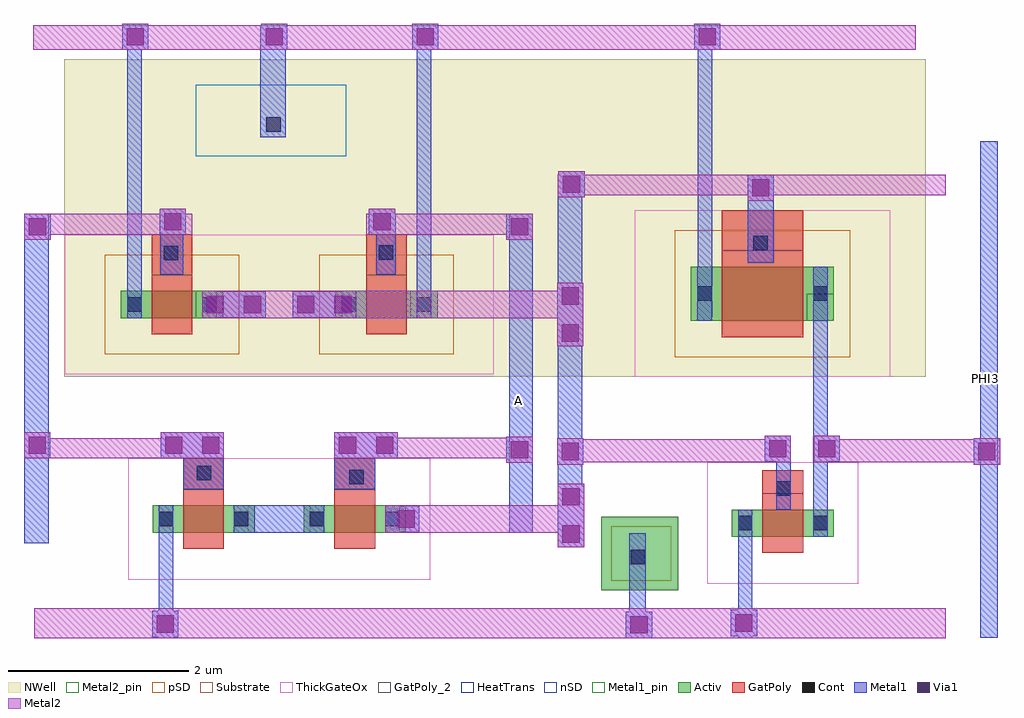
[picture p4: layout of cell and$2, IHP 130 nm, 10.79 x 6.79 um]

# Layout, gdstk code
import gdstk
lib = gdstk.Library(unit=1e-6, precision=1e-09)
def R(c, l, rs):  # rectangles x0, y0, x1, y1
    for r in rs: c.add(gdstk.rectangle(r[:2], r[2:], *l))
def P(c, l, *ps):  # polygons
    for p in ps: c.add(gdstk.Polygon(p, *l))
Activ = (1, 0)
GatPoly = (5, 0)
GatPoly_2 = (5, 2)
Cont = (6, 0)
nSD = (7, 0)
Metal1 = (8, 0)
Metal1_pin = (8, 2)
Metal2 = (10, 0)
Metal2_pin = (10, 2)
pSD = (14, 0)
Via1 = (19, 0)
NWell = (31, 0)
Substrate = (40, 0)
ThickGateOx = (44, 0)
HeatTrans = (51, 0)

pmoshv_1_4_1 = lib.new_cell('pmosHV$1$4$1')
R(pmoshv_1_4_1, Activ, [(0,0,0.3,0.3), (0,0,1.13,0.3), (0.83,0,1.13,0.3)])
R(pmoshv_1_4_1, GatPoly, [(0.34,-0.18,0.79,0.48)])
R(pmoshv_1_4_1, GatPoly_2, [(0.34,-0.18,0.79,0.48)])
R(pmoshv_1_4_1, Cont, [(0.07,0.07,0.23,0.23), (0.9,0.07,1.06,0.23)])
R(pmoshv_1_4_1, Metal1, [(0.07,0,0.23,0.3), (0.9,0,1.06,0.3)])
R(pmoshv_1_4_1, Metal1_pin, [(0.07,0,0.23,0.3), (0.9,0,1.06,0.3)])
R(pmoshv_1_4_1, pSD, [(-0.18,-0.4,1.31,0.7)])
R(pmoshv_1_4_1, NWell, [(-0.62,-0.62,1.75,0.92)])
R(pmoshv_1_4_1, Substrate, [(0.83,0,1.13,0.3)])
R(pmoshv_1_4_1, ThickGateOx, [(-0.62,-0.62,1.75,0.92)])
R(pmoshv_1_4_1, HeatTrans, [(0.34,-0.18,0.79,0.48)])
pmoshv_1_4_1.add(gdstk.Label('pmosHV', (0.565,0.15), layer=63, texttype=0))
pmoshv_1_4_1.add(gdstk.Label('pmos', (0.565,0.15), layer=51, texttype=0))

nmoshv_1_4_1 = lib.new_cell('nmosHV$1$4$1')
R(nmoshv_1_4_1, Activ, [(0,0,0.3,0.3), (0,0,1.13,0.3), (0.83,0,1.13,0.3)])
R(nmoshv_1_4_1, GatPoly, [(0.34,-0.18,0.79,0.48)])
R(nmoshv_1_4_1, GatPoly_2, [(0.34,-0.18,0.79,0.48)])
R(nmoshv_1_4_1, Cont, [(0.07,0.07,0.23,0.23), (0.9,0.07,1.06,0.23)])
R(nmoshv_1_4_1, Metal1, [(0.07,0,0.23,0.3), (0.9,0,1.06,0.3)])
R(nmoshv_1_4_1, Metal1_pin, [(0.07,0,0.23,0.3), (0.9,0,1.06,0.3)])
R(nmoshv_1_4_1, ThickGateOx, [(-0.27,-0.52,1.4,0.82)])
R(nmoshv_1_4_1, HeatTrans, [(0.34,-0.18,0.79,0.48)])
nmoshv_1_4_1.add(gdstk.Label('nmosHV', (0.565,0.15), layer=63, texttype=0))
nmoshv_1_4_1.add(gdstk.Label('nmosHV', (0.565,0.15), layer=51, texttype=0))

via_stack_3_4 = lib.new_cell('via_stack$3$4')
R(via_stack_3_4, Metal1, [(-0.145,-0.145,0.145,0.145)])
R(via_stack_3_4, Metal2, [(-0.145,-0.145,0.145,0.145)])
R(via_stack_3_4, Via1, [(-0.095,-0.095,0.095,0.095)])

via_stack_8_3 = lib.new_cell('via_stack$8$3')
R(via_stack_8_3, Metal1, [(-0.145,-0.35,0.145,0.35)])
R(via_stack_8_3, Metal2, [(-0.145,-0.35,0.145,0.35)])
R(via_stack_8_3, Via1, [(-0.095,-0.3,0.095,-0.11), (-0.095,0.11,0.095,0.3)])

via_stack_1_4 = lib.new_cell('via_stack$1$4')
R(via_stack_1_4, Metal1, [(-0.35,-0.145,0.35,0.145)])
R(via_stack_1_4, Metal2, [(-0.35,-0.145,0.35,0.145)])
R(via_stack_1_4, Via1, [(-0.3,-0.095,-0.11,0.095), (0.11,-0.095,0.3,0.095)])

pmoshv_7_2 = lib.new_cell('pmosHV$7$2')
R(pmoshv_7_2, Activ, [(0,0,0.3,0.3), (0,0,1.58,0.6), (1.28,0,1.58,0.3)])
R(pmoshv_7_2, GatPoly, [(0.34,-0.18,1.24,0.78)])
R(pmoshv_7_2, GatPoly_2, [(0.34,-0.18,1.24,0.78)])
R(pmoshv_7_2, Cont, [(0.07,0.22,0.23,0.38), (1.35,0.22,1.51,0.38)])
R(pmoshv_7_2, Metal1, [(0.07,0,0.23,0.6), (1.35,0,1.51,0.6)])
R(pmoshv_7_2, Metal1_pin, [(0.07,0,0.23,0.6), (1.35,0,1.51,0.6)])
R(pmoshv_7_2, pSD, [(-0.18,-0.4,1.76,1)])
R(pmoshv_7_2, NWell, [(-0.62,-0.62,2.2,1.22)])
R(pmoshv_7_2, Substrate, [(1.28,0,1.58,0.3)])
R(pmoshv_7_2, ThickGateOx, [(-0.62,-0.62,2.2,1.22)])
R(pmoshv_7_2, HeatTrans, [(0.34,-0.18,1.24,0.78)])
pmoshv_7_2.add(gdstk.Label('pmosHV', (0.79,0.3), layer=63, texttype=0))
pmoshv_7_2.add(gdstk.Label('pmos', (0.79,0.3), layer=51, texttype=0))

and_2 = lib.new_cell('and$2')
R(and_2, Activ, [(-1,-2.61,-0.15,-1.8)])
R(and_2, GatPoly, [(0.78,-1.54,1.23,-1.285), (-5.62,-1.495,-5.17,-1.155), (-3.95,-1.495,-3.5,-1.155), (-5.97,0.875,-5.52,1.315), (-3.6,0.875,-3.15,1.315), (0.33,1.145,1.23,1.585)])
R(and_2, Cont, [(-0.675,-2.325,-0.515,-2.165), (0.935,-1.57,1.095,-1.41), (-3.785,-1.44,-3.625,-1.28), (-5.47,-1.395,-5.31,-1.235), (-5.835,1.035,-5.675,1.195), (-3.46,1.04,-3.3,1.2), (0.68,1.145,0.84,1.305), (-4.705,2.455,-4.545,2.615)])
R(and_2, nSD, [(-5.48,2.185,-3.82,2.975), (-5.48,2.185,-3.82,2.975)])
R(and_2, Metal1, [(-5.89,-3.145,-5.73,-1.675), (-0.69,-3.14,-0.51,-1.98), (0.51,-3.14,0.67,-1.79), (3.185,-3.135,3.38,2.35), (-7.38,-2.095,-7.105,1.55), (1.34,-2.02,1.5,0.38), (-1.48,-1.98,-1.21,1.98), (-5.06,-1.975,-4.06,-1.675), (-2.02,-1.975,-1.76,1.55), (0.935,-1.72,1.095,-0.945), (-5.62,-1.495,-5.17,-0.935), (-3.95,-1.495,-3.5,-0.925), (-6.24,0.395,-6.08,3.63), (-3.04,0.395,-2.88,3.63), (0.065,0.405,0.225,3.63), (-5.875,0.875,-5.62,1.55), (-3.49,0.875,-3.27,1.55), (0.62,1.005,0.905,1.97), (-4.77,2.395,-4.49,3.63)])
R(and_2, Metal1_pin, [(3.185,-3.135,3.38,2.35), (-7.38,-2.095,-7.105,1.55), (-2.02,-1.975,-1.76,1.55)])
R(and_2, Metal2, [(-3.39,-1.975,-1.19,-1.675), (-1.48,-1.2,1.095,-0.945), (1.355,-1.2,3.38,-0.945), (-7.38,-1.155,-5.17,-0.935), (-3.95,-1.155,-1.76,-0.925), (-5.41,0.395,-1.21,0.695), (-7.38,1.315,-5.52,1.55), (-1.48,1.755,2.805,1.98), (-7.28,3.36,2.475,3.63)])
P(and_2, Metal2, [(-3.6,1.315),(-3.6,1.55),(-1.79,1.55),(-1.79,1.545),(-1.76,1.545),(-1.76,1.315)],
  [(-7.265,-3.145),(-7.265,-2.81),(2.805,-2.81),(2.805,-3.14),(-1.77,-3.14),(-1.77,-3.145)])
R(and_2, Metal2_pin, [(-7.265,-3.14,2.805,-2.81), (-7.28,3.36,2.475,3.63)])
R(and_2, pSD, [(-0.89,-2.51,-0.225,-1.905)])
R(and_2, NWell, [(-6.935,-0.255,2.585,3.255)])
and_2.add(gdstk.Reference(pmoshv_1_4_1, (-3.94,0.395)))
and_2.add(gdstk.Reference(nmoshv_1_4_1, (0.44,-2.02)))
and_2.add(gdstk.Reference(pmoshv_1_4_1, (-6.31,0.395)))
and_2.add(gdstk.Reference(nmoshv_1_4_1, (-4.29,-1.975)))
and_2.add(gdstk.Reference(nmoshv_1_4_1, (-5.96,-1.975)))
and_2.add(gdstk.Reference(via_stack_3_4, (-3.425,1.46)))
and_2.add(gdstk.Reference(via_stack_3_4, (-5.735,1.46)))
and_2.add(gdstk.Reference(via_stack_8_3, (-1.345,0.435)))
and_2.add(gdstk.Reference(via_stack_1_4, (-3.6,-1.01)))
and_2.add(gdstk.Reference(via_stack_1_4, (-5.52,-1.01)))
and_2.add(gdstk.Reference(via_stack_8_3, (-1.335,-1.785)))
and_2.add(gdstk.Reference(via_stack_3_4, (-1.33,1.875)))
and_2.add(gdstk.Reference(via_stack_3_4, (-7.23,1.405)))
and_2.add(gdstk.Reference(via_stack_3_4, (-7.235,-1.01)))
and_2.add(gdstk.Reference(via_stack_3_4, (-1.905,-1.06)))
and_2.add(gdstk.Reference(via_stack_3_4, (-1.905,1.405)))
and_2.add(gdstk.Reference(via_stack_1_4, (-4.06,0.545)))
and_2.add(gdstk.Reference(via_stack_1_4, (-5.06,0.545)))
and_2.add(gdstk.Reference(via_stack_3_4, (-3.155,-1.825)))
and_2.add(gdstk.Reference(via_stack_3_4, (0.76,1.835)))
and_2.add(gdstk.Reference(via_stack_3_4, (0.17,3.505)))
and_2.add(gdstk.Reference(via_stack_3_4, (-6.15,3.505)))
and_2.add(gdstk.Reference(via_stack_3_4, (-2.945,3.505)))
and_2.add(gdstk.Reference(via_stack_3_4, (-0.585,-2.995)))
and_2.add(gdstk.Reference(via_stack_3_4, (-4.615,3.505)))
and_2.add(gdstk.Reference(via_stack_3_4, (-1.345,-1.08)))
and_2.add(gdstk.Reference(via_stack_3_4, (-5.82,-2.985)))
and_2.add(gdstk.Reference(via_stack_3_4, (3.26,-1.08)))
and_2.add(gdstk.Reference(via_stack_3_4, (0.575,-2.975)))
and_2.add(gdstk.Reference(via_stack_3_4, (1.49,-1.05)))
and_2.add(gdstk.Reference(pmoshv_7_2, (-0.01,0.365)))
and_2.add(gdstk.Reference(via_stack_3_4, (0.95,-1.05)))
and_2.add(gdstk.Label('PHI3', (3.25,-0.275), layer=8, texttype=25))
and_2.add(gdstk.Label('A', (-1.915,-0.51), layer=8, texttype=25))

lib.write_gds('and_2.gds')
